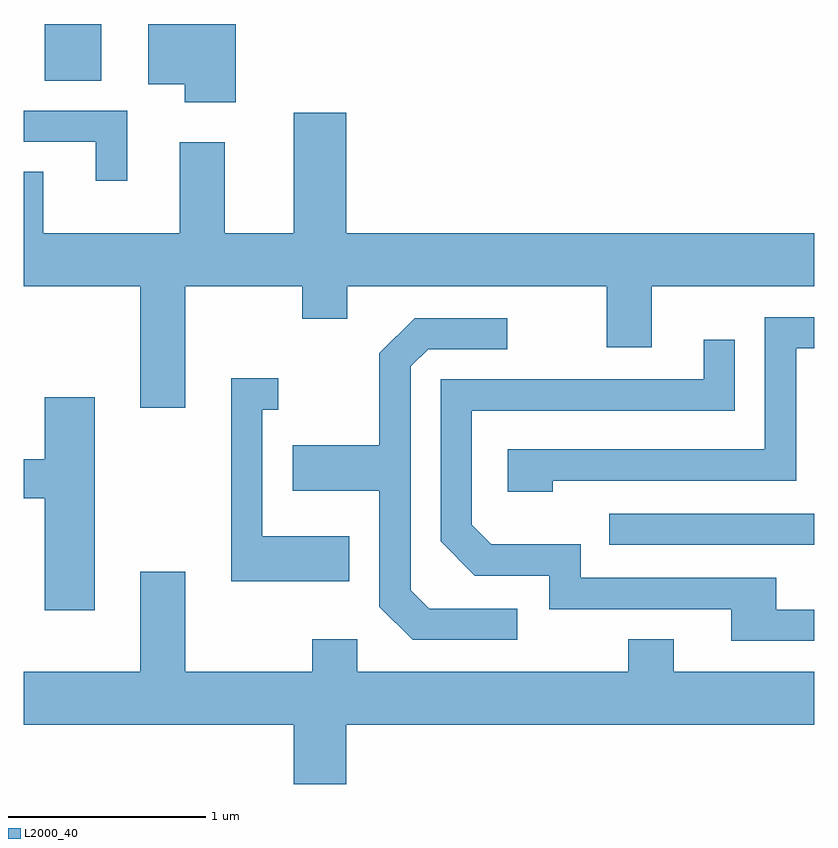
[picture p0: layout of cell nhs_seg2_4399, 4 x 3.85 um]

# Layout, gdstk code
import gdstk
lib = gdstk.Library(unit=1e-6, precision=1e-09)
def R(c, l, rs):  # rectangles x0, y0, x1, y1
    for r in rs: c.add(gdstk.rectangle(r[:2], r[2:], *l))
def P(c, l, *ps):  # polygons
    for p in ps: c.add(gdstk.Polygon(p, *l))
L2000_40 = (2000, 40)

nhs_seg2_4399 = lib.new_cell('nhs_seg2_4399')
R(nhs_seg2_4399, L2000_40, [(316.573,1109.166,317.611,1109.324), (313.716,1111.516,314.004,1111.802)])
P(nhs_seg2_4399, L2000_40, [(314.684,1111.802),(314.241,1111.802),(314.241,1111.496),(314.426,1111.496),(314.426,1111.406),(314.684,1111.406)],
  [(314.134,1111.364),(313.611,1111.364),(313.611,1111.206),(313.976,1111.206),(313.976,1111.008),(314.134,1111.008)],
  [(314.429,1110.476),(315.021,1110.476),(315.021,1110.311),(315.249,1110.311),(315.249,1110.476),(316.561,1110.476),(316.561,1110.166),(316.789,1110.166),(316.789,1110.476),(317.611,1110.476),(317.611,1110.744),(315.244,1110.744),(315.244,1111.354),(314.976,1111.354),(314.976,1110.744),(314.629,1110.744),(314.629,1111.204),(314.401,1111.204),(314.401,1110.744),(313.709,1110.744),(313.709,1111.054),(313.611,1111.054),(313.611,1110.476),(314.201,1110.476),(314.201,1109.861),(314.429,1109.861)],
  [(316.289,1109.491),(317.519,1109.491),(317.519,1110.161),(317.611,1110.161),(317.611,1110.319),(317.361,1110.319),(317.361,1109.649),(316.061,1109.649),(316.061,1109.436),(316.289,1109.436)],
  [(316.108,1108.844),(315.662,1108.844),(315.569,1108.937),(315.569,1110.069),(315.657,1110.156),(316.058,1110.156),(316.058,1110.314),(315.589,1110.314),(315.411,1110.137),(315.411,1109.669),(314.971,1109.669),(314.971,1109.441),(315.411,1109.441),(315.411,1108.854),(315.579,1108.686),(316.108,1108.686)],
  [(317.611,1108.839),(317.419,1108.839),(317.419,1108.999),(316.429,1108.999),(316.429,1109.169),(315.977,1109.169),(315.879,1109.267),(315.879,1109.846),(317.209,1109.846),(317.209,1110.203),(317.051,1110.203),(317.051,1110.004),(315.721,1110.004),(315.721,1109.184),(315.894,1109.011),(316.271,1109.011),(316.271,1108.841),(317.191,1108.841),(317.191,1108.681),(317.611,1108.681)],
  [(315.259,1109.209),(314.819,1109.209),(314.819,1109.851),(314.898,1109.851),(314.898,1110.009),(314.661,1110.009),(314.661,1108.981),(315.259,1108.981)],
  [(313.969,1109.914),(313.716,1109.914),(313.716,1109.599),(313.611,1109.599),(313.611,1109.401),(313.716,1109.401),(313.716,1108.836),(313.969,1108.836)],
  [(315.244,1108.256),(317.611,1108.256),(317.611,1108.524),(316.899,1108.524),(316.899,1108.689),(316.671,1108.689),(316.671,1108.524),(315.299,1108.524),(315.299,1108.689),(315.071,1108.689),(315.071,1108.524),(314.429,1108.524),(314.429,1109.029),(314.201,1109.029),(314.201,1108.524),(313.611,1108.524),(313.611,1108.256),(314.976,1108.256),(314.976,1107.956),(315.244,1107.956)])

lib.write_gds('nhs_seg2_4399.gds')
